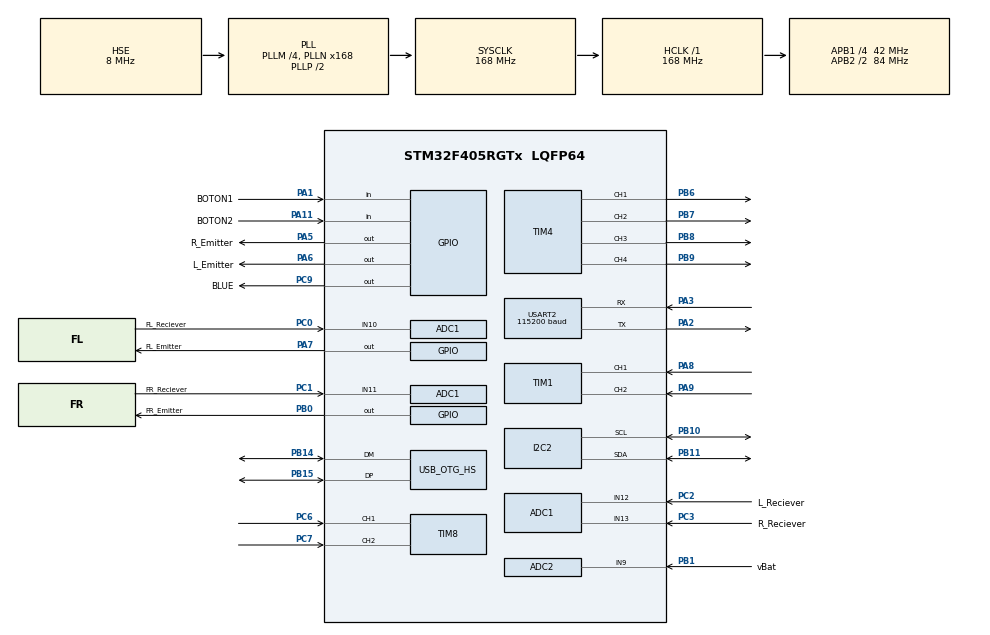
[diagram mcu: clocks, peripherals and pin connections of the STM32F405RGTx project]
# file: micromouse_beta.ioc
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ADC1.Channel-1\#ChannelRegularConversion=ADC_CHANNEL_10
ADC1.ContinuousConvMode=ENABLE
ADC1.NbrOfConversionFlag=1
ADC1.Rank-1\#ChannelRegularConversion=1
ADC1.SamplingTime-1\#ChannelRegularConversion=ADC_SAMPLETIME_3CYCLES
ADC1.master=1
ADC2.Channel-0\#ChannelRegularConversion=ADC_CHANNEL_9
ADC2.NbrOfConversionFlag=1
ADC2.Rank-0\#ChannelRegularConversion=1
ADC2.SamplingTime-0\#ChannelRegularConversion=ADC_SAMPLETIME_3CYCLES
Dma.ADC1.0.Direction=DMA_PERIPH_TO_MEMORY
Dma.ADC1.0.FIFOMode=DMA_FIFOMODE_DISABLE
Dma.ADC1.0.Instance=DMA2_Stream0
Dma.ADC1.0.MemDataAlignment=DMA_MDATAALIGN_HALFWORD
Dma.ADC1.0.MemInc=DMA_MINC_ENABLE
Dma.ADC1.0.Mode=DMA_NORMAL
Dma.ADC1.0.PeriphDataAlignment=DMA_PDATAALIGN_HALFWORD
Dma.ADC1.0.PeriphInc=DMA_PINC_DISABLE
Dma.ADC1.0.Priority=DMA_PRIORITY_MEDIUM
Dma.Request0=ADC1
Dma.Request1=USART2_TX
Dma.USART2_TX.1.Direction=DMA_MEMORY_TO_PERIPH
Dma.USART2_TX.1.FIFOMode=DMA_FIFOMODE_DISABLE
Dma.USART2_TX.1.Instance=DMA1_Stream6
Dma.USART2_TX.1.MemDataAlignment=DMA_MDATAALIGN_BYTE
Dma.USART2_TX.1.MemInc=DMA_MINC_ENABLE
Dma.USART2_TX.1.Mode=DMA_CIRCULAR
Dma.USART2_TX.1.PeriphDataAlignment=DMA_PDATAALIGN_BYTE
Dma.USART2_TX.1.PeriphInc=DMA_PINC_DISABLE
Dma.USART2_TX.1.Priority=DMA_PRIORITY_LOW
I2C2.I2C_Mode=I2C_Fast
Mcu.Family=STM32F4
Mcu.Name=STM32F405RGTx
Mcu.Package=LQFP64
NVIC.DMA1_Stream6_IRQn=true\:0\:0\:false\:false\:true\:false\:true\:true
NVIC.DMA2_Stream0_IRQn=true\:0\:0\:false\:false\:true\:false\:true\:true
NVIC.OTG_HS_IRQn=true\:0\:0\:false\:false\:true\:false\:true\:true
NVIC.PriorityGroup=NVIC_PRIORITYGROUP_4
NVIC.TIM8_UP_TIM13_IRQn=true\:0\:0\:false\:false\:true\:true\:true\:true
PA1.GPIO_Label=BOTON1
PA1.Signal=GPIO_Input
PA11.GPIO_Label=BOTON2
PA11.Signal=GPIO_Input
PA13.Mode=Serial_Wire
PA13.Signal=SYS_JTMS-SWDIO
PA14.Mode=Serial_Wire
PA14.Signal=SYS_JTCK-SWCLK
PA2.Mode=Asynchronous
PA2.Signal=USART2_TX
PA3.Mode=Asynchronous
PA3.Signal=USART2_RX
PA5.GPIO_Label=R_Emitter
PA5.Signal=GPIO_Output
PA6.GPIO_Label=L_Emitter
PA6.Signal=GPIO_Output
PA7.GPIO_Label=FL_Emitter
PA7.Signal=GPIO_Output
PA8.Signal=S_TIM1_CH1
PA9.Signal=S_TIM1_CH2
PB0.GPIO_Label=FR_Emitter
PB0.Signal=GPIO_Output
PB1.GPIO_Label=vBat
PB1.Signal=ADCx_IN9
PB10.Mode=I2C
PB10.Signal=I2C2_SCL
PB11.Mode=I2C
PB11.Signal=I2C2_SDA
PB14.Mode=Device_Only_FS
PB14.Signal=USB_OTG_HS_DM
PB15.Mode=Device_Only_FS
PB15.Signal=USB_OTG_HS_DP
PB6.Signal=S_TIM4_CH1
PB7.Signal=S_TIM4_CH2
PB8.Signal=S_TIM4_CH3
PB9.Signal=S_TIM4_CH4
PC0.GPIO_Label=FL_Reciever
PC0.Signal=ADCx_IN10
PC1.GPIO_Label=FR_Reciever
PC1.Signal=ADCx_IN11
PC2.GPIO_Label=L_Reciever
PC2.Signal=ADCx_IN12
PC3.GPIO_Label=R_Reciever
PC3.Signal=ADCx_IN13
PC6.Signal=S_TIM8_CH1
PC7.Signal=S_TIM8_CH2
PC9.GPIO_Label=BLUE
PC9.Signal=GPIO_Output
PH0-OSC_IN.Mode=HSE-External-Oscillator
PH0-OSC_IN.Signal=RCC_OSC_IN
PH1-OSC_OUT.Mode=HSE-External-Oscillator
PH1-OSC_OUT.Signal=RCC_OSC_OUT
ProjectManager.HeapSize=0x200
ProjectManager.StackSize=0x400
ProjectManager.TargetToolchain=STM32CubeIDE
RCC.48MHZClocksFreq_Value=48000000
RCC.AHBFreq_Value=168000000
RCC.APB1CLKDivider=RCC_HCLK_DIV4
RCC.APB1Freq_Value=42000000
RCC.APB1TimFreq_Value=84000000
RCC.APB2CLKDivider=RCC_HCLK_DIV2
RCC.APB2Freq_Value=84000000
RCC.APB2TimFreq_Value=168000000
RCC.CortexFreq_Value=168000000
RCC.HCLKFreq_Value=168000000
RCC.HSE_VALUE=8000000
RCC.HSI_VALUE=16000000
RCC.LSE_VALUE=32768
RCC.PLLM=4
RCC.PLLN=168
RCC.PLLQ=7
RCC.SYSCLKFreq_VALUE=168000000
RCC.SYSCLKSource=RCC_SYSCLKSOURCE_PLLCLK
RCC.VCOOutputFreq_Value=336000000
SH.ADCx_IN10.0=ADC1_IN10,IN10
SH.ADCx_IN11.0=ADC1_IN11,IN11
SH.ADCx_IN12.0=ADC1_IN12,IN12
SH.ADCx_IN13.0=ADC1_IN13,IN13
SH.ADCx_IN9.0=ADC2_IN9,IN9
SH.S_TIM1_CH1.0=TIM1_CH1,Encoder_Interface
SH.S_TIM1_CH2.0=TIM1_CH2,Encoder_Interface
SH.S_TIM4_CH1.0=TIM4_CH1,PWM Generation1 CH1
SH.S_TIM4_CH2.0=TIM4_CH2,PWM Generation2 CH2
SH.S_TIM4_CH3.0=TIM4_CH3,PWM Generation3 CH3
SH.S_TIM4_CH4.0=TIM4_CH4,PWM Generation4 CH4
SH.S_TIM8_CH1.0=TIM8_CH1,Encoder_Interface
SH.S_TIM8_CH2.0=TIM8_CH2,Encoder_Interface
TIM1.EncoderMode=TIM_ENCODERMODE_TI12
TIM4.Channel-PWM\ Generation1\ CH1=TIM_CHANNEL_1
TIM4.Channel-PWM\ Generation2\ CH2=TIM_CHANNEL_2
TIM4.Channel-PWM\ Generation3\ CH3=TIM_CHANNEL_3
TIM4.Channel-PWM\ Generation4\ CH4=TIM_CHANNEL_4
TIM8.CounterMode=TIM_COUNTERMODE_UP
TIM8.EncoderMode=TIM_ENCODERMODE_TI12
TIM8.IC2Polarity=TIM_ICPOLARITY_FALLING
USART2.BaudRate=115200
USART2.VirtualMode=VM_ASYNC
USB_DEVICE.CLASS_NAME_HS=CDC
USB_DEVICE.VirtualMode-CDC_HS=Cdc
USB_DEVICE.VirtualModeHS=Cdc_HS
USB_OTG_HS.VirtualMode-Device_Only_FS=Device_Only_FS
VP_USB_DEVICE_VS_USB_DEVICE_CDC_HS.Mode=CDC_HS
board=custom

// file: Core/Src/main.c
/* USER CODE BEGIN Header */
/**
  ******************************************************************************
  * @file           : main.c
  * @brief          : Main program body
  ******************************************************************************
  * @attention
  *
  * Copyright (c) 2023 STMicroelectronics.
  * All rights reserved.
  *
  * This software is licensed under terms that can be found in the LICENSE file
  * in the root directory of this software component.
  * If no LICENSE file comes with this software, it is provided AS-IS.
  *
  ******************************************************************************
  */
/* USER CODE END Header */
#include "main.h"
#include "usb_device.h"

/* USER CODE BEGIN Includes */
#include "irs.h"
#include "motors.h"
#include "encoder.h"
#include "usb_device.h"
#include "string.h"
#include "usbd_cdc_if.h"
#include "mpu6500.h"
#include "delay.h"
#include "vl6180x.h"
#include "moving_average.h"
#include "pid.h"

/* USER CODE END Includes */

ADC_HandleTypeDef hadc1;
ADC_HandleTypeDef hadc2;
DMA_HandleTypeDef hdma_adc1;

I2C_HandleTypeDef hi2c2;

TIM_HandleTypeDef htim1;
TIM_HandleTypeDef htim4;
TIM_HandleTypeDef htim8;

UART_HandleTypeDef huart2;
DMA_HandleTypeDef hdma_usart2_tx;

/* USER CODE BEGIN PV */
encoder_instance enc_right;
encoder_instance enc_left;

float* mpu_data;

int16_t left_IR;
int16_t right_IR;
int16_t front_left_IR;
int16_t front_right_IR;
uint8_t tof;
float vBat;

uint8_t init_vl6180;

//BUFFERS USB
uint8_t usb_data[300];
char text_buffer[20];
uint8_t recieve_buffer[64];

//BUFFERS UART
#define BUFFER_LEN 64
uint8_t RX_BUFFER[BUFFER_LEN] = {0};
uint8_t recieve_index = 0;

//MOVING AVERAGE FILTER
mov_aver_inst  filter_speedMR;
mov_aver_inst  filter_speedML;

//Velocidad Motores RPM (FINAL)
double vel_rightM_RPM;
double vel_leftM_RPM;
double speedDifference;

double ref_rightM_RPM = 500;
double ref_leftM_RPM = 500;

double speedMR_output;
double speedML_output;
double speedDifference_output;

uint8_t enable_motors = 0;

//INSTANCIAS PID
PID_TypeDef speedMR_PID;
PID_TypeDef speedML_PID;
PID_TypeDef speedDifference_PID;

/* USER CODE END PV */

void SystemClock_Config(void);
static void MX_GPIO_Init(void);
static void MX_DMA_Init(void);
static void MX_TIM4_Init(void);
static void MX_TIM1_Init(void);
static void MX_TIM8_Init(void);
static void MX_I2C2_Init(void);
static void MX_ADC1_Init(void);
static void MX_ADC2_Init(void);
static void MX_USART2_UART_Init(void);
/* USER CODE BEGIN PFP */
extern uint8_t CDC_Transmit_HS(uint8_t* Buf, uint16_t Len);

/* USER CODE END PFP */

int main(void)
{

  /* MCU Configuration--------------------------------------------------------*/

  /* Reset of all peripherals, Initializes the Flash interface and the Systick. */
+  HAL_Init();

  /* USER CODE BEGIN Init */
  Delay_Init();

  /* USER CODE END Init */

  /* Configure the system clock */
  SystemClock_Config();

  /* Initialize all configured peripherals */
  MX_GPIO_Init();
  MX_DMA_Init();
  MX_TIM4_Init();
  MX_TIM1_Init();
  MX_TIM8_Init();
  MX_USB_DEVICE_Init();
  MX_I2C2_Init();
  MX_ADC1_Init();
  MX_ADC2_Init();
  MX_USART2_UART_Init();
  /* USER CODE BEGIN 2 */

  //Inicialización I2C

  // Timers PWM - Motores
  HAL_TIM_PWM_Start(&htim4, TIM_CHANNEL_1); //L_Emitter
  HAL_TIM_PWM_Start(&htim4, TIM_CHANNEL_2); //R_Emitter
  HAL_TIM_PWM_Start(&htim4, TIM_CHANNEL_3); //FR_Emitter
  HAL_TIM_PWM_Start(&htim4, TIM_CHANNEL_4); //FL_Emitter

  // Timers ENCODERS
  HAL_TIM_Encoder_Start(&htim1, TIM_CHANNEL_ALL);
  HAL_TIM_Encoder_Start(&htim8, TIM_CHANNEL_ALL);

  //MPU6500
  mpu6500_init();

  // vl6180x
  //VL6180X_Init(&hi2c2);

  //Inicialización PID
  PID(&speedMR_PID, &enc_right.position_mm, &speedMR_output, &ref_rightM_RPM, 0.008, 0.0001,  0.0004, _PID_P_ON_E, _PID_CD_DIRECT);
  PID_SetMode(&speedMR_PID, _PID_MODE_AUTOMATIC);
  PID_SetSampleTime(&speedMR_PID, 1);
  PID_SetOutputLimits(&speedMR_PID, 0, 1);

  PID(&speedML_PID, &enc_left.position_mm, &speedML_output,  &ref_leftM_RPM, 0.008, 0.0001, 0.0004, _PID_P_ON_E, _PID_CD_DIRECT);
  PID_SetMode(&speedML_PID, _PID_MODE_AUTOMATIC);
  PID_SetSampleTime(&speedML_PID, 1);
  PID_SetOutputLimits(&speedML_PID, 0, 1);

  double zero = 0;
  PID(&speedDifference_PID, &speedDifference, &speedDifference_output,  &zero, 0.008, 0.0001, 0.0004, _PID_P_ON_E, _PID_CD_DIRECT);
  PID_SetMode(&speedDifference_PID, _PID_MODE_AUTOMATIC);
  PID_SetSampleTime(&speedDifference_PID, 1);
  PID_SetOutputLimits(&speedDifference_PID, 0, 1);

  /* USER CODE END 2 */

  /* Infinite loop */
  while (1)
  {

    /* USER CODE BEGIN 3 */
	HAL_GPIO_TogglePin(BLUE_GPIO_Port, BLUE_Pin);

	/*Lectura IR*/
	right_IR = readIR(IR_RIGHT);
	left_IR = readIR(IR_LEFT);//
	front_left_IR = readIR(IR_FRONT_LEFT);
	front_right_IR = readIR(IR_FRONT_RIGHT);

	/*Lectura del vl6180x*/
	//tof = VL6180X_readRange();

	//Lectura del MPU
	mpu_data = mpu6500_read();

	//Lectura VOltaje Bateria
	HAL_ADC_Start(&hadc2);
	vBat = HAL_ADC_GetValue(&hadc2) * (7.76/4095.0);

	//Pruebas motores
	if(HAL_GPIO_ReadPin(BOTON1_GPIO_Port, BOTON1_Pin) == 0){
		 ref_rightM_RPM = 360;
		 ref_leftM_RPM = 360;

		 enable_motors = 1;
	}

	//USB DATA
	print_sensorData();
	//CDC_Transmit_HS(usb_data, strlen(usb_data));
	HAL_UART_Transmit(&huart2, usb_data, strlen (usb_data), 100);
	memset(usb_data, '\0', 300);

  }
  /* USER CODE END 3 */
}

void SystemClock_Config(void)
{
  RCC_OscInitTypeDef RCC_OscInitStruct = {0};
  RCC_ClkInitTypeDef RCC_ClkInitStruct = {0};

  /** Configure the main internal regulator output voltage
  */
  __HAL_RCC_PWR_CLK_ENABLE();
  __HAL_PWR_VOLTAGESCALING_CONFIG(PWR_REGULATOR_VOLTAGE_SCALE1);

  /** Initializes the RCC Oscillators according to the specified parameters
  * in the RCC_OscInitTypeDef structure.
  */
  RCC_OscInitStruct.OscillatorType = RCC_OSCILLATORTYPE_HSE;
  RCC_OscInitStruct.HSEState = RCC_HSE_ON;
  RCC_OscInitStruct.PLL.PLLState = RCC_PLL_ON;
  RCC_OscInitStruct.PLL.PLLSource = RCC_PLLSOURCE_HSE;
  RCC_OscInitStruct.PLL.PLLM = 4;
  RCC_OscInitStruct.PLL.PLLN = 168;
  RCC_OscInitStruct.PLL.PLLP = RCC_PLLP_DIV2;
  RCC_OscInitStruct.PLL.PLLQ = 7;
  if (HAL_RCC_OscConfig(&RCC_OscInitStruct) != HAL_OK)
  {
    Error_Handler();
  }

  /** Initializes the CPU, AHB and APB buses clocks
  */
  RCC_ClkInitStruct.ClockType = RCC_CLOCKTYPE_HCLK|RCC_CLOCKTYPE_SYSCLK
                              |RCC_CLOCKTYPE_PCLK1|RCC_CLOCKTYPE_PCLK2;
  RCC_ClkInitStruct.SYSCLKSource = RCC_SYSCLKSOURCE_PLLCLK;
  RCC_ClkInitStruct.AHBCLKDivider = RCC_SYSCLK_DIV1;
  RCC_ClkInitStruct.APB1CLKDivider = RCC_HCLK_DIV4;
  RCC_ClkInitStruct.APB2CLKDivider = RCC_HCLK_DIV2;

  if (HAL_RCC_ClockConfig(&RCC_ClkInitStruct, FLASH_LATENCY_5) != HAL_OK)
  {
    Error_Handler();
  }
}

static void MX_ADC1_Init(void)
{

  ADC_ChannelConfTypeDef sConfig = {0};

  /** Configure the global features of the ADC (Clock, Resolution, Data Alignment and number of conversion)
  */
  hadc1.Instance = ADC1;
  hadc1.Init.ClockPrescaler = ADC_CLOCK_SYNC_PCLK_DIV4;
  hadc1.Init.Resolution = ADC_RESOLUTION_12B;
  hadc1.Init.ScanConvMode = DISABLE;
  hadc1.Init.ContinuousConvMode = ENABLE;
  hadc1.Init.DiscontinuousConvMode = DISABLE;
  hadc1.Init.ExternalTrigConvEdge = ADC_EXTERNALTRIGCONVEDGE_NONE;
  hadc1.Init.ExternalTrigConv = ADC_SOFTWARE_START;
  hadc1.Init.DataAlign = ADC_DATAALIGN_RIGHT;
  hadc1.Init.NbrOfConversion = 1;
  hadc1.Init.DMAContinuousRequests = DISABLE;
  hadc1.Init.EOCSelection = ADC_EOC_SINGLE_CONV;
  if (HAL_ADC_Init(&hadc1) != HAL_OK)
  {
    Error_Handler();
  }

  /** Configure for the selected ADC regular channel its corresponding rank in the sequencer and its sample time.
  */
  sConfig.Channel = ADC_CHANNEL_10;
  sConfig.Rank = 1;
  sConfig.SamplingTime = ADC_SAMPLETIME_3CYCLES;
  if (HAL_ADC_ConfigChannel(&hadc1, &sConfig) != HAL_OK)
  {
    Error_Handler();
  }

}

static void MX_ADC2_Init(void)
{

  ADC_ChannelConfTypeDef sConfig = {0};

  /** Configure the global features of the ADC (Clock, Resolution, Data Alignment and number of conversion)
  */
  hadc2.Instance = ADC2;
  hadc2.Init.ClockPrescaler = ADC_CLOCK_SYNC_PCLK_DIV4;
  hadc2.Init.Resolution = ADC_RESOLUTION_12B;
  hadc2.Init.ScanConvMode = DISABLE;
  hadc2.Init.ContinuousConvMode = DISABLE;
  hadc2.Init.DiscontinuousConvMode = DISABLE;
  hadc2.Init.ExternalTrigConvEdge = ADC_EXTERNALTRIGCONVEDGE_NONE;
  hadc2.Init.ExternalTrigConv = ADC_SOFTWARE_START;
  hadc2.Init.DataAlign = ADC_DATAALIGN_RIGHT;
  hadc2.Init.NbrOfConversion = 1;
  hadc2.Init.DMAContinuousRequests = DISABLE;
  hadc2.Init.EOCSelection = ADC_EOC_SINGLE_CONV;
  if (HAL_ADC_Init(&hadc2) != HAL_OK)
  {
    Error_Handler();
  }

  /** Configure for the selected ADC regular channel its corresponding rank in the sequencer and its sample time.
  */
  sConfig.Channel = ADC_CHANNEL_9;
  sConfig.Rank = 1;
  sConfig.SamplingTime = ADC_SAMPLETIME_3CYCLES;
  if (HAL_ADC_ConfigChannel(&hadc2, &sConfig) != HAL_OK)
  {
    Error_Handler();
  }

}

static void MX_I2C2_Init(void)
{

  hi2c2.Instance = I2C2;
  hi2c2.Init.ClockSpeed = 400000;
  hi2c2.Init.DutyCycle = I2C_DUTYCYCLE_2;
  hi2c2.Init.OwnAddress1 = 0;
  hi2c2.Init.AddressingMode = I2C_ADDRESSINGMODE_7BIT;
  hi2c2.Init.DualAddressMode = I2C_DUALADDRESS_DISABLE;
  hi2c2.Init.OwnAddress2 = 0;
  hi2c2.Init.GeneralCallMode = I2C_GENERALCALL_DISABLE;
  hi2c2.Init.NoStretchMode = I2C_NOSTRETCH_DISABLE;
  if (HAL_I2C_Init(&hi2c2) != HAL_OK)
  {
    Error_Handler();
  }

}

static void MX_TIM1_Init(void)
{

  TIM_Encoder_InitTypeDef sConfig = {0};
  TIM_MasterConfigTypeDef sMasterConfig = {0};

  htim1.Instance = TIM1;
  htim1.Init.Prescaler = 0;
  htim1.Init.CounterMode = TIM_COUNTERMODE_UP;
  htim1.Init.Period = 65535;
  htim1.Init.ClockDivision = TIM_CLOCKDIVISION_DIV1;
  htim1.Init.RepetitionCounter = 0;
  htim1.Init.AutoReloadPreload = TIM_AUTORELOAD_PRELOAD_DISABLE;
  sConfig.EncoderMode = TIM_ENCODERMODE_TI12;
  sConfig.IC1Polarity = TIM_ICPOLARITY_RISING;
  sConfig.IC1Selection = TIM_ICSELECTION_DIRECTTI;
  sConfig.IC1Prescaler = TIM_ICPSC_DIV1;
  sConfig.IC1Filter = 0;
  sConfig.IC2Polarity = TIM_ICPOLARITY_RISING;
  sConfig.IC2Selection = TIM_ICSELECTION_DIRECTTI;
  sConfig.IC2Prescaler = TIM_ICPSC_DIV1;
  sConfig.IC2Filter = 0;
  if (HAL_TIM_Encoder_Init(&htim1, &sConfig) != HAL_OK)
  {
    Error_Handler();
  }
  sMasterConfig.MasterOutputTrigger = TIM_TRGO_RESET;
  sMasterConfig.MasterSlaveMode = TIM_MASTERSLAVEMODE_DISABLE;
  if (HAL_TIMEx_MasterConfigSynchronization(&htim1, &sMasterConfig) != HAL_OK)
  {
    Error_Handler();
  }

}

static void MX_TIM4_Init(void)
{

  TIM_MasterConfigTypeDef sMasterConfig = {0};
  TIM_OC_InitTypeDef sConfigOC = {0};

  htim4.Instance = TIM4;
  htim4.Init.Prescaler = 0;
  htim4.Init.CounterMode = TIM_COUNTERMODE_UP;
  htim4.Init.Period = 65535;
  htim4.Init.ClockDivision = TIM_CLOCKDIVISION_DIV1;
  htim4.Init.AutoReloadPreload = TIM_AUTORELOAD_PRELOAD_DISABLE;
  if (HAL_TIM_PWM_Init(&htim4) != HAL_OK)
  {
    Error_Handler();
  }
  sMasterConfig.MasterOutputTrigger = TIM_TRGO_RESET;
  sMasterConfig.MasterSlaveMode = TIM_MASTERSLAVEMODE_DISABLE;
  if (HAL_TIMEx_MasterConfigSynchronization(&htim4, &sMasterConfig) != HAL_OK)
  {
    Error_Handler();
  }
  sConfigOC.OCMode = TIM_OCMODE_PWM1;
  sConfigOC.Pulse = 0;
  sConfigOC.OCPolarity = TIM_OCPOLARITY_HIGH;
  sConfigOC.OCFastMode = TIM_OCFAST_DISABLE;
  if (HAL_TIM_PWM_ConfigChannel(&htim4, &sConfigOC, TIM_CHANNEL_1) != HAL_OK)
  {
    Error_Handler();
  }
  if (HAL_TIM_PWM_ConfigChannel(&htim4, &sConfigOC, TIM_CHANNEL_2) != HAL_OK)
  {
    Error_Handler();
  }
  if (HAL_TIM_PWM_ConfigChannel(&htim4, &sConfigOC, TIM_CHANNEL_3) != HAL_OK)
  {
    Error_Handler();
  }
  if (HAL_TIM_PWM_ConfigChannel(&htim4, &sConfigOC, TIM_CHANNEL_4) != HAL_OK)
  {
    Error_Handler();
  }
  HAL_TIM_MspPostInit(&htim4);

}

static void MX_TIM8_Init(void)
{

  TIM_Encoder_InitTypeDef sConfig = {0};
  TIM_MasterConfigTypeDef sMasterConfig = {0};

  htim8.Instance = TIM8;
  htim8.Init.Prescaler = 0;
  htim8.Init.CounterMode = TIM_COUNTERMODE_UP;
  htim8.Init.Period = 65535;
  htim8.Init.ClockDivision = TIM_CLOCKDIVISION_DIV1;
  htim8.Init.RepetitionCounter = 0;
  htim8.Init.AutoReloadPreload = TIM_AUTORELOAD_PRELOAD_DISABLE;
  sConfig.EncoderMode = TIM_ENCODERMODE_TI12;
  sConfig.IC1Polarity = TIM_ICPOLARITY_RISING;
  sConfig.IC1Selection = TIM_ICSELECTION_DIRECTTI;
  sConfig.IC1Prescaler = TIM_ICPSC_DIV1;
  sConfig.IC1Filter = 0;
  sConfig.IC2Polarity = TIM_ICPOLARITY_FALLING;
  sConfig.IC2Selection = TIM_ICSELECTION_DIRECTTI;
  sConfig.IC2Prescaler = TIM_ICPSC_DIV1;
  sConfig.IC2Filter = 0;
  if (HAL_TIM_Encoder_Init(&htim8, &sConfig) != HAL_OK)
  {
    Error_Handler();
  }
  sMasterConfig.MasterOutputTrigger = TIM_TRGO_RESET;
  sMasterConfig.MasterSlaveMode = TIM_MASTERSLAVEMODE_DISABLE;
  if (HAL_TIMEx_MasterConfigSynchronization(&htim8, &sMasterConfig) != HAL_OK)
  {
    Error_Handler();
  }

}

static void MX_USART2_UART_Init(void)
{

  huart2.Instance = USART2;
  huart2.Init.BaudRate = 115200;
  huart2.Init.WordLength = UART_WORDLENGTH_8B;
  huart2.Init.StopBits = UART_STOPBITS_1;
  huart2.Init.Parity = UART_PARITY_NONE;
  huart2.Init.Mode = UART_MODE_TX_RX;
  huart2.Init.HwFlowCtl = UART_HWCONTROL_NONE;
  huart2.Init.OverSampling = UART_OVERSAMPLING_16;
  if (HAL_UART_Init(&huart2) != HAL_OK)
  {
    Error_Handler();
  }

}

static void MX_DMA_Init(void)
{

  /* DMA controller clock enable */
  __HAL_RCC_DMA2_CLK_ENABLE();
  __HAL_RCC_DMA1_CLK_ENABLE();

  /* DMA interrupt init */
  /* DMA1_Stream6_IRQn interrupt configuration */
  HAL_NVIC_SetPriority(DMA1_Stream6_IRQn, 0, 0);
  HAL_NVIC_EnableIRQ(DMA1_Stream6_IRQn);
  /* DMA2_Stream0_IRQn interrupt configuration */
  HAL_NVIC_SetPriority(DMA2_Stream0_IRQn, 0, 0);
  HAL_NVIC_EnableIRQ(DMA2_Stream0_IRQn);

}

static void MX_GPIO_Init(void)
{
  GPIO_InitTypeDef GPIO_InitStruct = {0};

  /* GPIO Ports Clock Enable */
  __HAL_RCC_GPIOH_CLK_ENABLE();
  __HAL_RCC_GPIOC_CLK_ENABLE();
  __HAL_RCC_GPIOA_CLK_ENABLE();
  __HAL_RCC_GPIOB_CLK_ENABLE();

  /*Configure GPIO pin Output Level */
  HAL_GPIO_WritePin(GPIOA, R_Emitter_Pin|L_Emitter_Pin|FL_Emitter_Pin, GPIO_PIN_RESET);

  /*Configure GPIO pin Output Level */
  HAL_GPIO_WritePin(FR_Emitter_GPIO_Port, FR_Emitter_Pin, GPIO_PIN_RESET);

  /*Configure GPIO pin Output Level */
  HAL_GPIO_WritePin(BLUE_GPIO_Port, BLUE_Pin, GPIO_PIN_RESET);

  /*Configure GPIO pins : BOTON1_Pin BOTON2_Pin */
  GPIO_InitStruct.Pin = BOTON1_Pin|BOTON2_Pin;
  GPIO_InitStruct.Mode = GPIO_MODE_INPUT;
  GPIO_InitStruct.Pull = GPIO_NOPULL;
  HAL_GPIO_Init(GPIOA, &GPIO_InitStruct);

  /*Configure GPIO pins : R_Emitter_Pin L_Emitter_Pin FL_Emitter_Pin */
  GPIO_InitStruct.Pin = R_Emitter_Pin|L_Emitter_Pin|FL_Emitter_Pin;
  GPIO_InitStruct.Mode = GPIO_MODE_OUTPUT_PP;
  GPIO_InitStruct.Pull = GPIO_NOPULL;
  GPIO_InitStruct.Speed = GPIO_SPEED_FREQ_LOW;
  HAL_GPIO_Init(GPIOA, &GPIO_InitStruct);

  /*Configure GPIO pin : FR_Emitter_Pin */
  GPIO_InitStruct.Pin = FR_Emitter_Pin;
  GPIO_InitStruct.Mode = GPIO_MODE_OUTPUT_PP;
  GPIO_InitStruct.Pull = GPIO_NOPULL;
  GPIO_InitStruct.Speed = GPIO_SPEED_FREQ_LOW;
  HAL_GPIO_Init(FR_Emitter_GPIO_Port, &GPIO_InitStruct);

  /*Configure GPIO pin : BLUE_Pin */
  GPIO_InitStruct.Pin = BLUE_Pin;
  GPIO_InitStruct.Mode = GPIO_MODE_OUTPUT_PP;
  GPIO_InitStruct.Pull = GPIO_NOPULL;
  GPIO_InitStruct.Speed = GPIO_SPEED_FREQ_LOW;
  HAL_GPIO_Init(BLUE_GPIO_Port, &GPIO_InitStruct);

}

/* USER CODE BEGIN 4 */
ADC_HandleTypeDef* Get_HADC1_Ptr(void)
{
    return &hadc1;
}

void print_RMotorSpeed(){
	sprintf(text_buffer, "\n%f, ", vel_rightM_RPM);
	strncat(usb_data, text_buffer, strlen(text_buffer));
	sprintf(text_buffer, "%d", HAL_GetTick());
	strncat(usb_data, text_buffer, strlen(text_buffer));
}

void print_sensorData(){
	sprintf(text_buffer, "\n\n L: %d, ", left_IR);
	strncat(usb_data, text_buffer, strlen(text_buffer));
	sprintf(text_buffer, "FL: %d, ", front_left_IR);
	strncat(usb_data, text_buffer, strlen(text_buffer));
	sprintf(text_buffer, "FR: %d, ", front_right_IR);
	strncat(usb_data, text_buffer, strlen(text_buffer));
	sprintf(text_buffer, "R: %d, ", right_IR);
	strncat(usb_data, text_buffer, strlen(text_buffer));
	sprintf(text_buffer, "F: %d \n", tof);
	strncat(usb_data, text_buffer, strlen(text_buffer));

	//DATA - MPU
	sprintf(text_buffer, "AX: %f, ",  mpu_data[0]);
	strncat(usb_data, text_buffer, strlen(text_buffer));
	sprintf(text_buffer, "AY: %f, ", mpu_data[1]);
	strncat(usb_data, text_buffer, strlen(text_buffer));
	sprintf(text_buffer, "AZ: %f, ", mpu_data[2]);
	strncat(usb_data, text_buffer, strlen(text_buffer));

	sprintf(text_buffer, "T: %f \n", mpu_data[3]);
	strncat(usb_data, text_buffer, strlen(text_buffer));

	sprintf(text_buffer, "GX: %f, ", mpu_data[4]);
	strncat(usb_data, text_buffer, strlen(text_buffer));
	sprintf(text_buffer, "GY: %f, ", mpu_data[5]);
	strncat(usb_data, text_buffer, strlen(text_buffer));
	sprintf(text_buffer, "GZ: %f, ", mpu_data[6]);
	strncat(usb_data, text_buffer, strlen(text_buffer));

	//Data Batería
	sprintf(text_buffer, "\n vBat: %f ", vBat);
	strncat(usb_data, text_buffer, strlen(text_buffer));
}

/* USER CODE END 4 */

void Error_Handler(void)
{
  __disable_irq();
  while (1)
  {
  }
}
